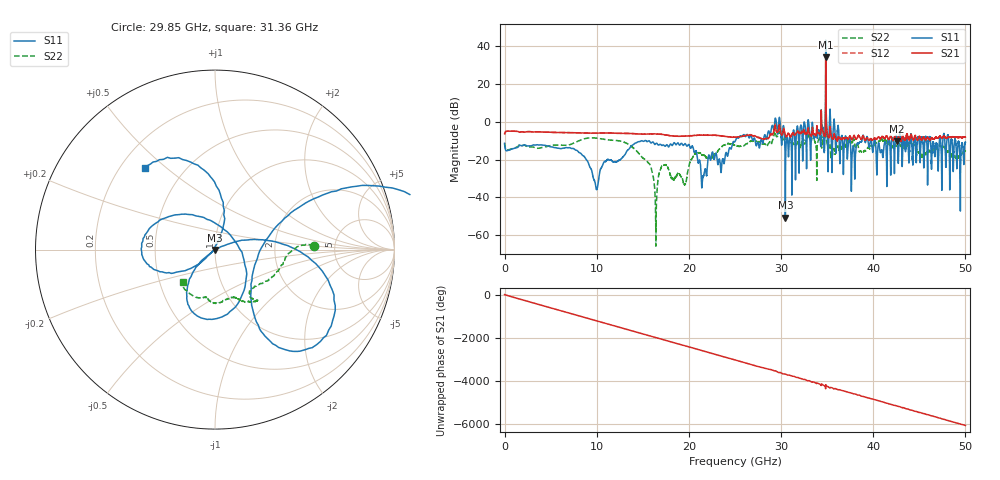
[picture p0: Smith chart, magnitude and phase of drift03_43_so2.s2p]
!Created with skrf (http://scikit-rf.org).
# Hz S RI R 50.0
!freq ReS11 ImS11 ReS21 ImS21 ReS12 ImS12 ReS22 ImS22
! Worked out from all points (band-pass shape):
!   10001 points, 300 kHz to 50 GHz, reference 50 ohm
!   highest |S21| = 33.94 dB at 34.85 GHz (marker M1); lowest = -10.4 dB at 42.55 GHz (marker M2)
!   |S21| within 3 dB of the highest: 34.8442 GHz to 34.84575 GHz (1.548 MHz wide, 0.00444 % of centre)
!   lowest |S11| = -50.7 dB at 30.47 GHz (marker M3), VSWR 1.01, Z = 49.9 - j0.275 ohm
!   |S11| at or under -10 dB: start of sweep to 15.23 GHz; 15.32 GHz to 25.05 GHz (9.736 GHz wide, 48.2 % of centre); 40.22 GHz to 41.62 GHz (1.4 GHz wide, 3.42 % of centre) (the widest 3 of 55)
!   |S22| runs from -65.7 to 25.0 dB; largest |S21 - S12| = 7.3
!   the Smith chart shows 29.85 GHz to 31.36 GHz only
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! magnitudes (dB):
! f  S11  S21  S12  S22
! 300 kHz  -11.4  -6.5  -6.5  -11.4
! 8.335 GHz  -17.1  -6.0  -6.0  -9.6
! 9.955 GHz  -35.5  -6.1  -6.1  -8.7
! 11.01 GHz  -20.9  -6.0  -6.0  -9.5
! 13.93 GHz  -12.3  -6.3  -6.3  -13.8
! 16.36 GHz  -11.9  -6.5  -6.5  -42.8
! 16.67 GHz  -12.4  -6.6  -6.5  -29.7
! 17.34 GHz  -12.8  -6.9  -6.9  -22.9
! 19.55 GHz  -11.7  -7.7  -7.7  -33.1
! 20.21 GHz  -13.9  -7.4  -7.5  -20.3
! 21.55 GHz  -28.7  -7.2  -7.2  -17.7
! 25 GHz  -10.6  -8.3  -8.3  -12.6
! 29.6 GHz  -5.6  -5.7  -5.9  -7.8
! 30.47 GHz  -50.7  -7.2  -7.2  -9.0
! 33.34 GHz  -3.8  -6.9  -6.7  -9.4
! 34.85 GHz  42.8  33.9  33.8  25.0
! 35.63 GHz  -6.7  -9.2  -9.1  -16.1
! 37.83 GHz  -12.7  -8.3  -8.4  -9.9
! 38.81 GHz  -8.9  -8.2  -8.3  -16.2
! 41.67 GHz  -9.3  -9.4  -9.4  -11.5
! 42.55 GHz  -8.3  -10.4  -10.4  -13.2
! 50 GHz  -10.8  -8.2  -8.2  -15.4
